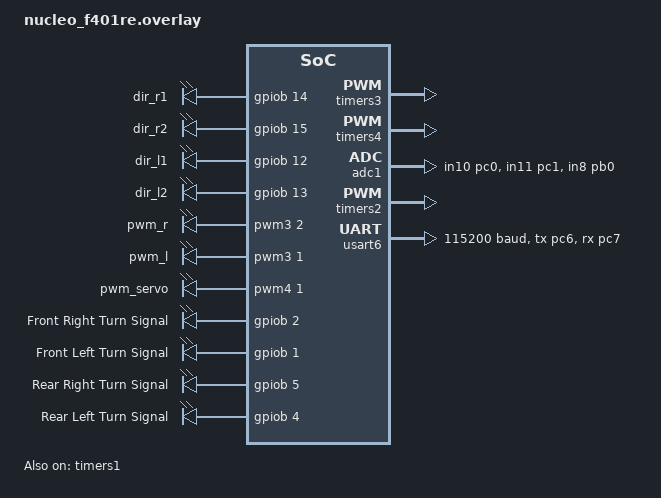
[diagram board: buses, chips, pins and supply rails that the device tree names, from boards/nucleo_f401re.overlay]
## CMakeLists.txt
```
cmake_minimum_required(VERSION 3.20.0)
find_package(Zephyr REQUIRED HINTS $ENV{ZEPHYR_BASE})
project(lab2_stm32)

target_sources(app PRIVATE src/main.c
                          src/hw/l298n.c
                          src/hw/encoders.c
                          src/hw/servo.c
                          src/hw/adc.c
                          src/hw/blinkers.c
                          src/sys/uart_parser.c
                          src/sys/health.c
                          src/sys/drivetrain.c
                          src/sys/steering.c
                          src/sys/blinkers_control.c)

target_include_directories(app PRIVATE src)
```

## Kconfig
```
mainmenu "Lab 2 STM32 Application Configuration"

source "Kconfig.zephyr"

config APP_DEBUG_LOGGING
    bool "Enable debug printk logging"
    default y
    help
      Enable this option to allow debug logging via printk throughout the application.
```

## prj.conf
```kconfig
CONFIG_GPIO=y
CONFIG_PWM=y
CONFIG_ADC=y
CONFIG_SENSOR=y

# Set system tick to 1kHz to guarantee mathematically exact 1ms (1kHz) hardware timers
CONFIG_SYS_CLOCK_TICKS_PER_SEC=1000

# Console on USART2 (ST-Link), Command Parser on USART6
CONFIG_CONSOLE=y
CONFIG_UART_CONSOLE=y
CONFIG_UART_INTERRUPT_DRIVEN=y
```

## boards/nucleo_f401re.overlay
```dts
/ {
    aliases {
        // Turn Signal LEDs
        led-fr = &led_fr;
        led-fl = &led_fl;
        led-rr = &led_rr;
        led-rl = &led_rl;

        // Drivetrain H-Bridge
        dir-r1 = &dir_r1;
        dir-r2 = &dir_r2;
        dir-l1 = &dir_l1;
        dir-l2 = &dir_l2;
        pwm-r = &pwm_r;
        pwm-l = &pwm_l;

        // Steering Servo
        pwm-servo = &pwm_servo;
    };

    drivetrain_dir {
        compatible = "gpio-leds";
        dir_r1: dir_r1 { gpios = <&gpiob 14 GPIO_ACTIVE_HIGH>; };
        dir_r2: dir_r2 { gpios = <&gpiob 15 GPIO_ACTIVE_HIGH>; };
        dir_l1: dir_l1 { gpios = <&gpiob 12 GPIO_ACTIVE_HIGH>; };
        dir_l2: dir_l2 { gpios = <&gpiob 13 GPIO_ACTIVE_HIGH>; };
    };

    drivetrain_pwm {
        compatible = "pwm-leds";
        pwm_r: pwm_r { pwms = <&pwm3 2 100000 PWM_POLARITY_NORMAL>; }; 
        pwm_l: pwm_l { pwms = <&pwm3 1 100000 PWM_POLARITY_NORMAL>; }; 
    };

    servo_pwm {
        compatible = "pwm-leds";
        pwm_servo: pwm_servo {
            pwms = <&pwm4 1 20000000 PWM_POLARITY_NORMAL>; 
        };
    };

    leds {
        compatible = "gpio-leds";

        led_fr: front-right {
            gpios = <&gpiob 2 GPIO_ACTIVE_HIGH>;
            label = "Front Right Turn Signal";
        };

        led_fl: front-left {
            gpios = <&gpiob 1 GPIO_ACTIVE_HIGH>;
            label = "Front Left Turn Signal";
        };

        led_rr: rear-right {
            gpios = <&gpiob 5 GPIO_ACTIVE_HIGH>;
            label = "Rear Right Turn Signal";
        };

        led_rl: rear-left {
            gpios = <&gpiob 4 GPIO_ACTIVE_HIGH>;
            label = "Rear Left Turn Signal";
        };
    };
};

// Drivetrain PWM Timer
&timers3 {
    status = "okay";
    pwm3: pwm {
        status = "okay";
        pinctrl-0 = <&tim3_ch1_pa6 &tim3_ch2_pa7>;
        pinctrl-names = "default";
    };
};

// Steering PWM Timer
&timers4 {
    status = "okay";
    st,prescaler = <83>;
    
    pwm4: pwm {
        status = "okay";
        pinctrl-0 = <&tim4_ch1_pb6>;
        pinctrl-names = "default";
    };
};

// Current Sensor ADC
&adc1 {
    status = "okay";
    pinctrl-0 = <&adc1_in10_pc0 &adc1_in11_pc1 &adc1_in8_pb0>;
    pinctrl-names = "default";
};

// Encoder Pullups
&tim1_ch1_pa8  { bias-pull-up; };
&tim1_ch2_pa9  { bias-pull-up; };
&tim2_ch1_pa0  { bias-pull-up; };
&tim2_ch2_pa1  { bias-pull-up; };

// Right Encoder Timer
&timers1 {
    status = "okay";
    qdec1: qdec {
        status = "okay";
        compatible = "st,stm32-qdec";
        pinctrl-0 = <&tim1_ch1_pa8 &tim1_ch2_pa9>;
        pinctrl-names = "default";
        st,counts-per-revolution = <360>; 
        st,encoder-mode = <3>;
    };
};

// Left Encoder Timer
&timers2 {
    status = "okay";
    
    // Disable the default PWM driver on TIM2 to prevent it from 
    // overriding our Quadrature Decoder configuration!
    pwm2: pwm {
        status = "disabled";
    };

    qdec2: qdec {
        status = "okay";
        compatible = "st,stm32-qdec";
        pinctrl-0 = <&tim2_ch1_pa0 &tim2_ch2_pa1>;
        pinctrl-names = "default";
        st,counts-per-revolution = <360>;
        st,encoder-mode = <3>;
    };
};
// Command UART from Raspberry Pi
&usart6 {
    pinctrl-0 = <&usart6_tx_pc6 &usart6_rx_pc7>;
    pinctrl-names = "default";
    current-speed = <115200>;
    status = "okay";
};
```

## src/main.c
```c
#include <zephyr/kernel.h>
#include "hw/l298n.h"
#include "hw/encoders.h"
#include "hw/servo.h"
#include "hw/adc.h"
#include "hw/blinkers.h"
#include "sys/drivetrain.h"
#include "sys/steering.h"
#include "sys/blinkers_control.h"
#include "sys/health.h"
#include "sys/uart_parser.h"
#include "core/log.h"

int main(void)
{
    DEBUG_PRINT("Initializing Hardware...\n");
    if (l298n_init() != 0) return -1;
    if (encoders_init() != 0) return -1;
    if (servo_init() != 0) return -1;
    if (adc_init() != 0) return -1;
    if (blinkers_init() != 0) return -1;
    
    DEBUG_PRINT("Initializing System...\n");
    if (uart_parser_init() != 0) return -1;
    
    // Explicitly start threads after all hardware is checked and initialized
    drivetrain_init();
    steering_init();
    blinkers_control_init();
    health_init();
    
    DEBUG_PRINT("Initialization Complete. RTOS threads taking over.\n");

    return 0;
}
```
